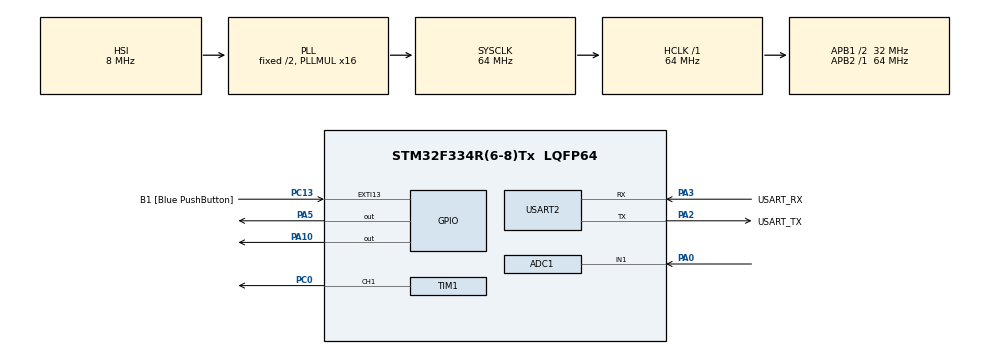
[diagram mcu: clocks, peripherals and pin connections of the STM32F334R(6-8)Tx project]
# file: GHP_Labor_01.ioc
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ADC1.Channel-0\#ChannelRegularConversion=ADC_CHANNEL_1
ADC1.NbrOfConversionFlag=1
ADC1.Offset-0\#ChannelRegularConversion=0
ADC1.OffsetNumber-0\#ChannelRegularConversion=ADC_OFFSET_NONE
ADC1.Rank-0\#ChannelRegularConversion=1
ADC1.SamplingTime-0\#ChannelRegularConversion=ADC_SAMPLETIME_1CYCLE_5
ADC1.SamplingTimeOPAMP-0\#ChannelRegularConversion=ADC_SAMPLETIME_61CYCLES_5
ADC1.SubFamily=STM32F334x8
ADC1.master=1
Mcu.Family=STM32F3
Mcu.Name=STM32F334R(6-8)Tx
Mcu.Package=LQFP64
NVIC.EXTI15_10_IRQn=true\:0\:0\:false\:false\:true\:true\:true\:true
NVIC.PriorityGroup=NVIC_PRIORITYGROUP_0
PA0.Mode=IN1-Single-Ended
PA0.Signal=ADC1_IN1
PA10.Signal=GPIO_Output
PA13.GPIO_Label=TMS
PA13.Mode=Serial_Wire
PA13.Signal=SYS_JTMS-SWDIO
PA14.GPIO_Label=TCK
PA14.Mode=Serial_Wire
PA14.Signal=SYS_JTCK-SWCLK
PA2.GPIO_Label=USART_TX
PA2.Mode=Asynchronous
PA2.Signal=USART2_TX
PA3.GPIO_Label=USART_RX
PA3.Mode=Asynchronous
PA3.Signal=USART2_RX
PA5.Signal=GPIO_Output
PB3.GPIO_Label=SWO
PB3.Signal=SYS_JTDO-TRACESWO
PC0.Signal=S_TIM1_CH1
PC13.GPIO_Label=B1 [Blue PushButton]
PC13.GPIO_ModeDefaultEXTI=GPIO_MODE_IT_FALLING
PC13.Signal=GPXTI13
PC14\ /\ OSC32_IN.Mode=LSE-External-Oscillator
PC14\ /\ OSC32_IN.Signal=RCC_OSC32_IN
PC15\ /\ OSC32_OUT.GPIO_Label=RCC_OSC32_OUT
PC15\ /\ OSC32_OUT.Mode=LSE-External-Oscillator
PC15\ /\ OSC32_OUT.Signal=RCC_OSC32_OUT
PF0\ /\ OSC_IN.Mode=HSE-External-Clock-Source
PF0\ /\ OSC_IN.Signal=RCC_OSC_IN
PF1\ /\ OSC_OUT.Signal=RCC_OSC_OUT
ProjectManager.HeapSize=0x200
ProjectManager.StackSize=0x400
ProjectManager.TargetToolchain=STM32CubeIDE
RCC.AHBFreq_Value=64000000
RCC.APB1CLKDivider=RCC_HCLK_DIV2
RCC.APB1Freq_Value=32000000
RCC.APB1TimFreq_Value=64000000
RCC.APB2Freq_Value=64000000
RCC.APB2TimFreq_Value=64000000
RCC.CortexFreq_Value=64000000
RCC.FLatency-AdvancedSettings=FLASH_LATENCY_2
RCC.HCLKFreq_Value=64000000
RCC.HSE_VALUE=8000000
RCC.HSI_VALUE=8000000
RCC.PLLMUL=RCC_PLL_MUL16
RCC.SYSCLKFreq_VALUE=64000000
RCC.SYSCLKSourceVirtual=RCC_SYSCLKSOURCE_PLLCLK
SH.S_TIM1_CH1.0=TIM1_CH1,PWM Generation1 CH1
TIM1.AutoReloadPreload=TIM_AUTORELOAD_PRELOAD_DISABLE
TIM1.Channel-PWM\ Generation1\ CH1=TIM_CHANNEL_1
TIM1.Period=4095
TIM1.Prescaler=64-1
USART2.VirtualMode-Asynchronous=VM_ASYNC
VP_TIM1_VS_ClockSourceINT.Mode=Internal
board=NUCLEO-F334R8

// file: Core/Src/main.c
/* USER CODE BEGIN Header */
/**
  ******************************************************************************
  * @file           : main.c
  * @brief          : Main program body
  ******************************************************************************
  * @attention
  *
  * Copyright (c) 2022 STMicroelectronics.
  * All rights reserved.
  *
  * This software is licensed under terms that can be found in the LICENSE file
  * in the root directory of this software component.
  * If no LICENSE file comes with this software, it is provided AS-IS.
  *
  ******************************************************************************
  */
/* USER CODE END Header */
#include "main.h"

/* USER CODE BEGIN Includes */
#include <string.h>
#include <stdio.h>
#include <stdlib.h>
/* USER CODE END Includes */

 ADC_HandleTypeDef hadc1;

TIM_HandleTypeDef htim1;

UART_HandleTypeDef huart2;

/* USER CODE BEGIN PV */
#define cycle 4

uint16_t raw_adc_value = 0;
const float VOLTAGE = 3.3f;
const int ADC_RES = 4095;
uint16_t sumADCRaw = 0;
int arithmeticADC = 0;
int counter = 0;
uint16_t ringBuffer[cycle] = {0};

/* USER CODE END PV */

void SystemClock_Config(void);
static void MX_GPIO_Init(void);
static void MX_USART2_UART_Init(void);
static void MX_ADC1_Init(void);
static void MX_TIM1_Init(void);
/* USER CODE BEGIN PFP */

/*
  Returns the Voltage from the current ADC Value
*/
float getVoltageFromAdc(uint16_t *value){
	return (*value * VOLTAGE) / ADC_RES;
}

/*
  Implementation of moving average
*/
int getArithmeticADCValue(uint16_t *adc_raw){
	sumADCRaw += *adc_raw - ringBuffer[counter % cycle];
	ringBuffer[counter%cycle] = *adc_raw;
	counter++;
	return sumADCRaw/cycle;
}

/*
  Interrupt handler calles this function to toggle the LED
*/
void HAL_GPIO_EXTI_Callback(uint16_t GPIO_Pin)
{

	if(GPIO_Pin == B1_Pin)
		HAL_GPIO_TogglePin(GPIOA, GPIO_PIN_5); // Toggle The Output (LED) Pin

}

/* USER CODE END PFP */

int main(void)
{

  /* MCU Configuration--------------------------------------------------------*/

  /* Reset of all peripherals, Initializes the Flash interface and the Systick. */
  HAL_Init();

  /* Configure the system clock */
  SystemClock_Config();

  /* Initialize all configured peripherals */
  MX_GPIO_Init();
  MX_USART2_UART_Init();
  MX_ADC1_Init();
  MX_TIM1_Init();
  /* USER CODE BEGIN 2 */

  HAL_TIM_PWM_Start(&htim1, TIM_CHANNEL_1);

  /* USER CODE END 2 */

  /* Infinite loop */
  /* USER CODE BEGIN WHILE */
  while (1)
  {

	  // Aufgabe 01
	  /*
	  HAL_GPIO_TogglePin(GPIOA, GPIO_PIN_5);
	  HAL_Delay(1000);
	  */

	  HAL_ADC_Start(&hadc1);
	  HAL_ADC_PollForConversion(&hadc1, HAL_MAX_DELAY);
	  raw_adc_value = HAL_ADC_GetValue(&hadc1);
	  getVoltageFromAdc(&raw_adc_value);

	  arithmeticADC = getArithmeticADCValue(&raw_adc_value);

	  HAL_GPIO_WritePin(GPIOC, GPIO_PIN_0, GPIO_PIN_SET);

	  // Aufgabe 02 - Turns on the led -> depends on the current ADC value
    /*
	  if(arithmeticADC > (ADC_RES/2) && HAL_GPIO_ReadPin(GPIOA, GPIO_PIN_5) == GPIO_PIN_RESET){
		  HAL_GPIO_WritePin(GPIOA, GPIO_PIN_5, GPIO_PIN_SET);
	  }
	  else if(arithmeticADC <= (ADC_RES/2) && HAL_GPIO_ReadPin(GPIOA, GPIO_PIN_5) != GPIO_PIN_RESET)
	  {
		  HAL_GPIO_WritePin(GPIOA, GPIO_PIN_5, GPIO_PIN_RESET);
	  }
    */

	  // Aufgabe 3 - PWM generation
	  __HAL_TIM_SET_COMPARE(&htim1,TIM_CHANNEL_1, arithmeticADC);
	  HAL_Delay(10);

    // Serial output -> print the values
	  if(counter%1000 == 0){
		  printf("adc_value == %d \n\r", raw_adc_value);
		  printf("adc_voltage == %f \n\r", getVoltageFromAdc(&raw_adc_value));
		  printf("Arithmetic Value == %d \n\n\n\r", arithmeticADC);
	  }

    /* USER CODE END WHILE */

  }
}

void SystemClock_Config(void)
{
  RCC_OscInitTypeDef RCC_OscInitStruct = {0};
  RCC_ClkInitTypeDef RCC_ClkInitStruct = {0};
  RCC_PeriphCLKInitTypeDef PeriphClkInit = {0};

  /** Initializes the RCC Oscillators according to the specified parameters
  * in the RCC_OscInitTypeDef structure.
  */
  RCC_OscInitStruct.OscillatorType = RCC_OSCILLATORTYPE_HSI;
  RCC_OscInitStruct.HSIState = RCC_HSI_ON;
  RCC_OscInitStruct.HSICalibrationValue = RCC_HSICALIBRATION_DEFAULT;
  RCC_OscInitStruct.PLL.PLLState = RCC_PLL_ON;
  RCC_OscInitStruct.PLL.PLLSource = RCC_PLLSOURCE_HSI;
  RCC_OscInitStruct.PLL.PLLMUL = RCC_PLL_MUL16;
  if (HAL_RCC_OscConfig(&RCC_OscInitStruct) != HAL_OK)
  {
    Error_Handler();
  }

  /** Initializes the CPU, AHB and APB buses clocks
  */
  RCC_ClkInitStruct.ClockType = RCC_CLOCKTYPE_HCLK|RCC_CLOCKTYPE_SYSCLK
                              |RCC_CLOCKTYPE_PCLK1|RCC_CLOCKTYPE_PCLK2;
  RCC_ClkInitStruct.SYSCLKSource = RCC_SYSCLKSOURCE_PLLCLK;
  RCC_ClkInitStruct.AHBCLKDivider = RCC_SYSCLK_DIV1;
  RCC_ClkInitStruct.APB1CLKDivider = RCC_HCLK_DIV2;
  RCC_ClkInitStruct.APB2CLKDivider = RCC_HCLK_DIV1;

  if (HAL_RCC_ClockConfig(&RCC_ClkInitStruct, FLASH_LATENCY_2) != HAL_OK)
  {
    Error_Handler();
  }
  PeriphClkInit.PeriphClockSelection = RCC_PERIPHCLK_TIM1|RCC_PERIPHCLK_ADC12;
  PeriphClkInit.Adc12ClockSelection = RCC_ADC12PLLCLK_DIV1;
  PeriphClkInit.Tim1ClockSelection = RCC_TIM1CLK_HCLK;
  if (HAL_RCCEx_PeriphCLKConfig(&PeriphClkInit) != HAL_OK)
  {
    Error_Handler();
  }
}

static void MX_ADC1_Init(void)
{

  ADC_MultiModeTypeDef multimode = {0};
  ADC_ChannelConfTypeDef sConfig = {0};

  /** Common config
  */
  hadc1.Instance = ADC1;
  hadc1.Init.ClockPrescaler = ADC_CLOCK_ASYNC_DIV1;
  hadc1.Init.Resolution = ADC_RESOLUTION_12B;
  hadc1.Init.ScanConvMode = ADC_SCAN_DISABLE;
  hadc1.Init.ContinuousConvMode = DISABLE;
  hadc1.Init.DiscontinuousConvMode = DISABLE;
  hadc1.Init.ExternalTrigConvEdge = ADC_EXTERNALTRIGCONVEDGE_NONE;
  hadc1.Init.ExternalTrigConv = ADC_SOFTWARE_START;
  hadc1.Init.DataAlign = ADC_DATAALIGN_RIGHT;
  hadc1.Init.NbrOfConversion = 1;
  hadc1.Init.DMAContinuousRequests = DISABLE;
  hadc1.Init.EOCSelection = ADC_EOC_SINGLE_CONV;
  hadc1.Init.LowPowerAutoWait = DISABLE;
  hadc1.Init.Overrun = ADC_OVR_DATA_OVERWRITTEN;
  if (HAL_ADC_Init(&hadc1) != HAL_OK)
  {
    Error_Handler();
  }

  /** Configure the ADC multi-mode
  */
  multimode.Mode = ADC_MODE_INDEPENDENT;
  if (HAL_ADCEx_MultiModeConfigChannel(&hadc1, &multimode) != HAL_OK)
  {
    Error_Handler();
  }

  /** Configure Regular Channel
  */
  sConfig.Channel = ADC_CHANNEL_1;
  sConfig.Rank = ADC_REGULAR_RANK_1;
  sConfig.SingleDiff = ADC_SINGLE_ENDED;
  sConfig.SamplingTime = ADC_SAMPLETIME_1CYCLE_5;
  sConfig.OffsetNumber = ADC_OFFSET_NONE;
  sConfig.Offset = 0;
  if (HAL_ADC_ConfigChannel(&hadc1, &sConfig) != HAL_OK)
  {
    Error_Handler();
  }

}

static void MX_TIM1_Init(void)
{

  TIM_ClockConfigTypeDef sClockSourceConfig = {0};
  TIM_MasterConfigTypeDef sMasterConfig = {0};
  TIM_OC_InitTypeDef sConfigOC = {0};
  TIM_BreakDeadTimeConfigTypeDef sBreakDeadTimeConfig = {0};

  htim1.Instance = TIM1;
  htim1.Init.Prescaler = 64-1;
  htim1.Init.CounterMode = TIM_COUNTERMODE_UP;
  htim1.Init.Period = 4095;
  htim1.Init.ClockDivision = TIM_CLOCKDIVISION_DIV1;
  htim1.Init.RepetitionCounter = 0;
  htim1.Init.AutoReloadPreload = TIM_AUTORELOAD_PRELOAD_DISABLE;
  if (HAL_TIM_Base_Init(&htim1) != HAL_OK)
  {
    Error_Handler();
  }
  sClockSourceConfig.ClockSource = TIM_CLOCKSOURCE_INTERNAL;
  if (HAL_TIM_ConfigClockSource(&htim1, &sClockSourceConfig) != HAL_OK)
  {
    Error_Handler();
  }
  if (HAL_TIM_PWM_Init(&htim1) != HAL_OK)
  {
    Error_Handler();
  }
  sMasterConfig.MasterOutputTrigger = TIM_TRGO_RESET;
  sMasterConfig.MasterOutputTrigger2 = TIM_TRGO2_RESET;
  sMasterConfig.MasterSlaveMode = TIM_MASTERSLAVEMODE_DISABLE;
  if (HAL_TIMEx_MasterConfigSynchronization(&htim1, &sMasterConfig) != HAL_OK)
  {
    Error_Handler();
  }
  sConfigOC.OCMode = TIM_OCMODE_PWM1;
  sConfigOC.Pulse = 0;
  sConfigOC.OCPolarity = TIM_OCPOLARITY_HIGH;
  sConfigOC.OCNPolarity = TIM_OCNPOLARITY_HIGH;
  sConfigOC.OCFastMode = TIM_OCFAST_DISABLE;
  sConfigOC.OCIdleState = TIM_OCIDLESTATE_RESET;
  sConfigOC.OCNIdleState = TIM_OCNIDLESTATE_RESET;
  if (HAL_TIM_PWM_ConfigChannel(&htim1, &sConfigOC, TIM_CHANNEL_1) != HAL_OK)
  {
    Error_Handler();
  }
  sBreakDeadTimeConfig.OffStateRunMode = TIM_OSSR_DISABLE;
  sBreakDeadTimeConfig.OffStateIDLEMode = TIM_OSSI_DISABLE;
  sBreakDeadTimeConfig.LockLevel = TIM_LOCKLEVEL_OFF;
  sBreakDeadTimeConfig.DeadTime = 0;
  sBreakDeadTimeConfig.BreakState = TIM_BREAK_DISABLE;
  sBreakDeadTimeConfig.BreakPolarity = TIM_BREAKPOLARITY_HIGH;
  sBreakDeadTimeConfig.BreakFilter = 0;
  sBreakDeadTimeConfig.Break2State = TIM_BREAK2_DISABLE;
  sBreakDeadTimeConfig.Break2Polarity = TIM_BREAK2POLARITY_HIGH;
  sBreakDeadTimeConfig.Break2Filter = 0;
  sBreakDeadTimeConfig.AutomaticOutput = TIM_AUTOMATICOUTPUT_DISABLE;
  if (HAL_TIMEx_ConfigBreakDeadTime(&htim1, &sBreakDeadTimeConfig) != HAL_OK)
  {
    Error_Handler();
  }
  HAL_TIM_MspPostInit(&htim1);

}

static void MX_USART2_UART_Init(void)
{

  huart2.Instance = USART2;
  huart2.Init.BaudRate = 38400;
  huart2.Init.WordLength = UART_WORDLENGTH_8B;
  huart2.Init.StopBits = UART_STOPBITS_1;
  huart2.Init.Parity = UART_PARITY_NONE;
  huart2.Init.Mode = UART_MODE_TX_RX;
  huart2.Init.HwFlowCtl = UART_HWCONTROL_NONE;
  huart2.Init.OverSampling = UART_OVERSAMPLING_16;
  huart2.Init.OneBitSampling = UART_ONE_BIT_SAMPLE_DISABLE;
  huart2.AdvancedInit.AdvFeatureInit = UART_ADVFEATURE_NO_INIT;
  if (HAL_UART_Init(&huart2) != HAL_OK)
  {
    Error_Handler();
  }

}

static void MX_GPIO_Init(void)
{
  GPIO_InitTypeDef GPIO_InitStruct = {0};

  /* GPIO Ports Clock Enable */
  __HAL_RCC_GPIOC_CLK_ENABLE();
  __HAL_RCC_GPIOF_CLK_ENABLE();
  __HAL_RCC_GPIOA_CLK_ENABLE();
  __HAL_RCC_GPIOB_CLK_ENABLE();

  /*Configure GPIO pin Output Level */
  HAL_GPIO_WritePin(GPIOA, GPIO_PIN_5|GPIO_PIN_10, GPIO_PIN_RESET);

  /*Configure GPIO pin : B1_Pin */
  GPIO_InitStruct.Pin = B1_Pin;
  GPIO_InitStruct.Mode = GPIO_MODE_IT_FALLING;
  GPIO_InitStruct.Pull = GPIO_NOPULL;
  HAL_GPIO_Init(B1_GPIO_Port, &GPIO_InitStruct);

  /*Configure GPIO pins : PA5 PA10 */
  GPIO_InitStruct.Pin = GPIO_PIN_5|GPIO_PIN_10;
  GPIO_InitStruct.Mode = GPIO_MODE_OUTPUT_PP;
  GPIO_InitStruct.Pull = GPIO_NOPULL;
  GPIO_InitStruct.Speed = GPIO_SPEED_FREQ_LOW;
  HAL_GPIO_Init(GPIOA, &GPIO_InitStruct);

  /* EXTI interrupt init*/
  HAL_NVIC_SetPriority(EXTI15_10_IRQn, 0, 0);
  HAL_NVIC_EnableIRQ(EXTI15_10_IRQn);

}

/* USER CODE BEGIN 4 */
// Enables the serial output
int __io_putchar(int ch)
	  {
	   uint8_t c[1];
	   c[0] = ch & 0x00FF;
	   HAL_UART_Transmit(&huart2, &*c, 1, 10);
	   return ch;
	  }

	  int _write(int file,char *ptr, int len)
	  {
	   int DataIdx;
	   for(DataIdx= 0; DataIdx< len; DataIdx++)
	   {
	   __io_putchar(*ptr++);
	   }
	  return len;
	  }

/* USER CODE END 4 */

void Error_Handler(void)
{
  __disable_irq();
  while (1)
  {
  }
}
